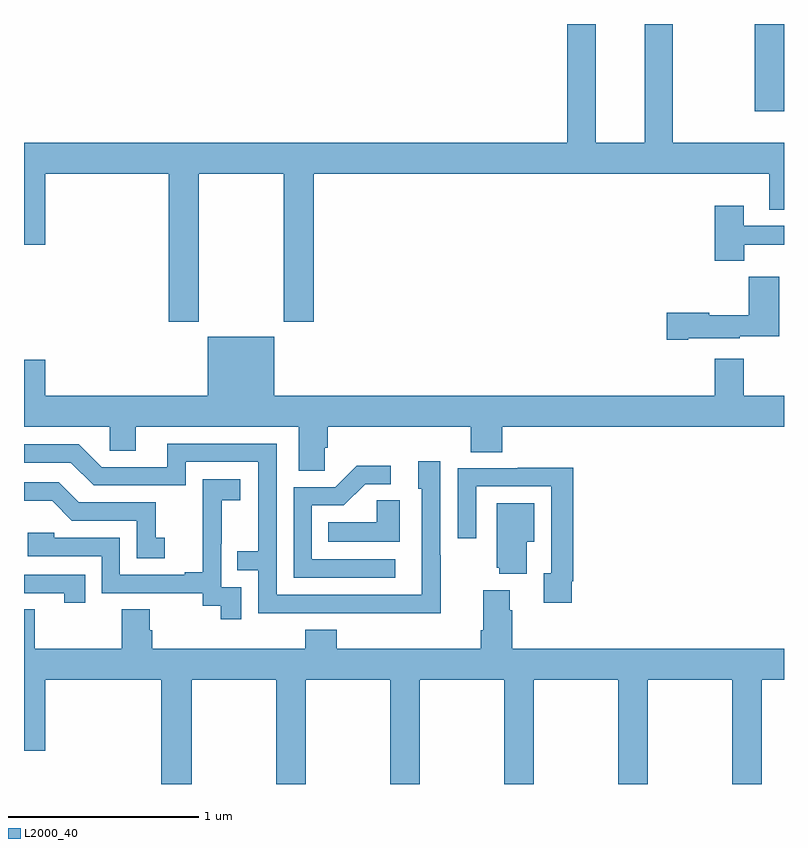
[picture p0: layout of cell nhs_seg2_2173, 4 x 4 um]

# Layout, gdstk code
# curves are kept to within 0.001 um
import gdstk
lib = gdstk.Library(unit=1e-6, precision=1e-09)
def R(c, l, rs):  # rectangles x0, y0, x1, y1
    for r in rs: c.add(gdstk.rectangle(r[:2], r[2:], *l))
def P(c, l, *ps):  # polygons
    for p in ps: c.add(gdstk.Polygon(p, *l))
L2000_40 = (2000, 40)

nhs_seg2_2173 = lib.new_cell('nhs_seg2_2173')
R(nhs_seg2_2173, L2000_40, [(228.847,605.34,229,605.8)])
P(nhs_seg2_2173, L2000_40, [(225.921,605.012),(226.366,605.012),(226.366,604.233),(226.526,604.233),(226.526,605.012),(228.923,605.012),(228.923,604.822),(229,604.822),(229,605.176),(228.414,605.176),(228.414,605.8),(228.266,605.8),(228.266,605.176),(228.01,605.176),(228.01,605.8),(227.858,605.8),(227.858,605.176),(225,605.176),(225,604.638),(225.112,604.638),(225.112,605.012),(225.761,605.012),(225.761,604.233),(225.921,604.233)],
  [(228.79,604.638),(229,604.638),(229,604.737),(228.787,604.737),(228.787,604.843),(228.635,604.843),(228.635,604.553),(228.79,604.553)],
  [(228.496,604.145),(228.768,604.145),(228.768,604.157),(228.976,604.157),(228.976,604.471),(228.814,604.471),(228.814,604.267),(228.606,604.267),(228.606,604.28),(228.384,604.28),(228.384,604.138),(228.496,604.138)],
  [(226.584,603.571),(226.598,603.571),(226.598,603.68),(227.351,603.68),(227.351,603.547),(227.516,603.547),(227.516,603.68),(229,603.68),(229,603.844),(228.787,603.844),(228.787,604.039),(228.635,604.039),(228.635,603.844),(226.318,603.844),(226.318,604.153),(225.968,604.153),(225.968,603.844),(225.112,603.844),(225.112,604.033),(225,604.033),(225,603.68),(225.45,603.68),(225.45,603.553),(225.589,603.553),(225.589,603.68),(226.445,603.68),(226.445,603.448),(226.584,603.448)],
  [(227.193,603.005),(227.19,603.005),(227.19,603.499),(227.075,603.499),(227.075,603.354),(227.094,603.354),(227.094,602.796),(226.329,602.796),(226.329,603.591),(225.755,603.591),(225.755,603.468),(225.408,603.468),(225.288,603.588),(225,603.588),(225,603.492),(225.246,603.492),(225.366,603.372),(225.852,603.372),(225.852,603.495),(226.233,603.495),(226.233,603.026),(226.123,603.026),(226.123,602.925),(226.233,602.925),(226.233,602.7),(227.193,602.699)],
  [(226.954,602.982),(226.515,602.982),(226.515,603.267),(226.684,603.267),(226.795,603.378),(226.93,603.378),(226.93,603.476),(226.751,603.476),(226.638,603.363),(226.419,603.363),(226.419,602.886),(226.954,602.886)],
  [(227.884,602.866),(227.891,602.866),(227.891,603.464),(227.599,603.464),(227.599,603.462),(227.283,603.462),(227.283,603.093),(227.379,603.093),(227.379,603.366),(227.775,603.366),(227.775,602.91),(227.735,602.91),(227.735,602.754),(227.884,602.754)],
  [(226.143,602.835),(226.038,602.835),(226.038,603.065),(226.04,603.065),(226.04,603.293),(226.138,603.293),(226.138,603.403),(225.94,603.403),(225.94,603.197),(225.941,603.197),(225.941,602.914),(225.845,602.914),(225.845,602.901),(225.504,602.901),(225.504,603.096),(225.159,603.096),(225.159,603.123),(225.019,603.123),(225.019,603),(225.408,603),(225.408,602.805),(225.942,602.805),(225.942,602.737),(226.035,602.737),(226.035,602.667),(226.143,602.667)],
  [(225.742,603.097),(225.693,603.097),(225.693,603.282),(225.289,603.282),(225.184,603.387),(225,603.387),(225,603.29),(225.148,603.29),(225.252,603.186),(225.594,603.186),(225.594,602.988),(225.742,602.988)],
  [(226.978,603.293),(226.857,603.293),(226.857,603.178),(226.6,603.178),(226.6,603.074),(226.978,603.074)],
  [(227.647,603.074),(227.686,603.074),(227.686,603.277),(227.489,603.277),(227.489,602.937),(227.501,602.937),(227.501,602.906),(227.647,602.906)],
  [(225.323,602.901),(225,602.901),(225,602.805),(225.212,602.805),(225.212,602.754),(225.323,602.754)],
  [(225.882,602.348),(226.327,602.348),(226.327,601.8),(226.482,601.8),(226.482,602.348),(226.927,602.348),(226.927,601.8),(227.082,601.8),(227.082,602.348),(227.527,602.348),(227.527,601.8),(227.682,601.8),(227.682,602.348),(228.127,602.348),(228.127,601.8),(228.282,601.8),(228.282,602.348),(228.727,602.348),(228.727,601.8),(228.882,601.8),(228.882,602.348),(229,602.348),(229,602.512),(227.57,602.512),(227.57,602.714),(227.557,602.714),(227.557,602.821),(227.417,602.821),(227.417,602.608),(227.405,602.608),(227.405,602.512),(226.646,602.512),(226.646,602.611),(226.481,602.611),(226.481,602.512),(225.674,602.512),(225.674,602.61),(225.661,602.61),(225.661,602.72),(225.514,602.72),(225.514,602.512),(225.057,602.512),(225.057,602.72),(225,602.72),(225,601.974),(225.112,601.974),(225.112,602.348),(225.722,602.348),(225.722,601.8),(225.882,601.8)])

lib.write_gds('nhs_seg2_2173.gds')
